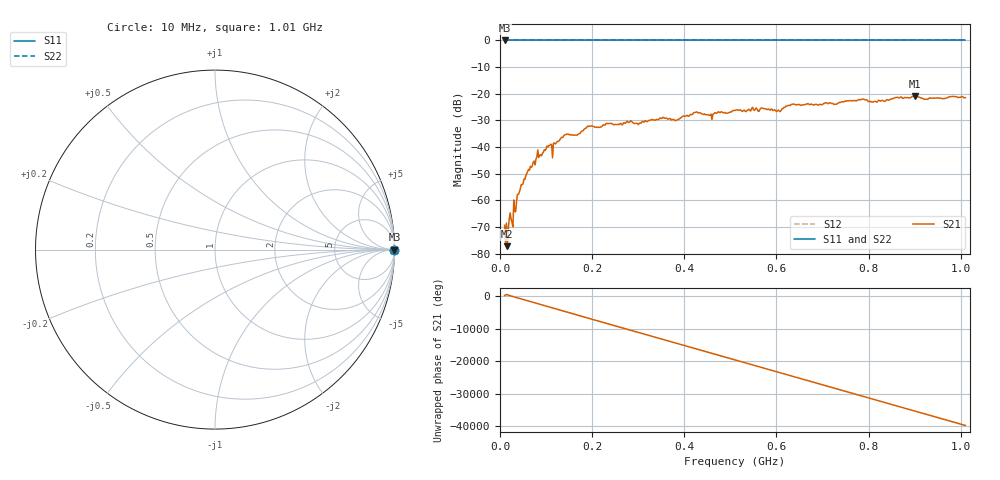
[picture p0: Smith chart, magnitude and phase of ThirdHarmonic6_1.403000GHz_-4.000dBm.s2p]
! 8/16/2025 4:02:42 PM
! C:\ANRITSUVNA\TEMP\TEMP.S2P
! CHANNEL.1
! TR.MEASUREMENT
! RAW.DATA
! RF.CORRECTION.OFF
! AVERAGING.OFF
! IF.BANDWIDTH: 5KHZ
! SWEEPTYPE:  FREQ.SWEEP(Linear)
! Reference Plane Port Info
! PORT:  PORT1  PORT2
! DISTANCE:  0  m  0  m
! TIME:  0  s  0  s
! PHASE.OFFSET:  0  deg.  0  deg.
! LOSS:  0  dB  0  dB
! REF.LOSS:  0  dB  0  dB
! REF.FREQ:  0  Hz  0  Hz
! Power Info
! POWER:  -20  dBm  -20  dBm
! EFF.POWER:  -20  dBm  -20  dBm
! SOURCE.ATTEN:  0  dB  0  dB
! TEST.ATTEN:  0  dB  0  dB
# GHZ S RI R 50.0
! FREQ.GHZ  S11RE  S11IM  S21RE  S21IM  S12RE  S12IM  S22RE  S22IM
!; PortSelection: Port_12
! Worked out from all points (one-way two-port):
!   501 points, 10 MHz to 1.01 GHz, reference 50 ohm
!   highest |S21| = -20.96 dB at 900 MHz (marker M1); lowest = -77.2 dB at 16 MHz (marker M2)
!   lowest |S11| = 0.0 dB at 10 MHz (marker M3)
!   |S11| at or under -10 dB: nowhere
!   |S22| runs from 0.0 to 0.0 dB; largest |S21 - S12| = 1.1
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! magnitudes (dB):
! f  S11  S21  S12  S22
! 10 MHz  0.0  -69.4  0.0  0.0
! 16 MHz  0.0  -77.2  0.0  0.0
! 22 MHz  0.0  -64.7  0.0  0.0
! 30 MHz  0.0  -59.9  0.0  0.0
! 42 MHz  0.0  -56.9  0.0  0.0
! 62 MHz  0.0  -48.4  0.0  0.0
! 82 MHz  0.0  -41.1  0.0  0.0
! 118 MHz  0.0  -38.5  0.0  0.0
! 142 MHz  0.0  -35.3  0.0  0.0
! 178 MHz  0.0  -34.0  0.0  0.0
! 194 MHz  0.0  -32.2  0.0  0.0
! 344 MHz  0.0  -29.7  0.0  0.0
! 382 MHz  0.0  -30.0  0.0  0.0
! 424 MHz  0.0  -27.0  0.0  0.0
! 456 MHz  0.0  -28.0  0.0  0.0
! 510 MHz  0.0  -26.3  0.0  0.0
! 604 MHz  0.0  -26.1  0.0  0.0
! 636 MHz  0.0  -23.9  0.0  0.0
! 678 MHz  0.0  -24.1  0.0  0.0
! 844 MHz  0.0  -22.4  0.0  0.0
! 900 MHz  0.0  -21.0  0.0  0.0
! 1.01 GHz  0.0  -21.5  0.0  0.0
